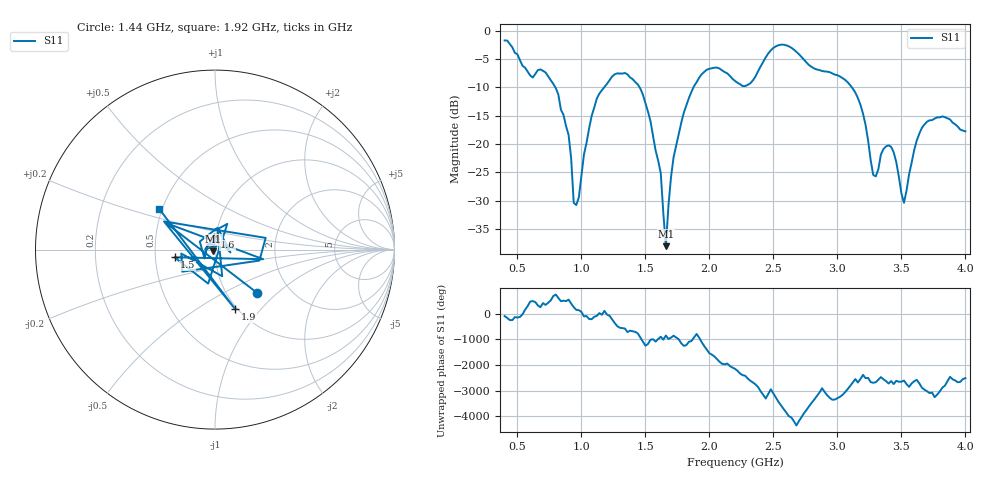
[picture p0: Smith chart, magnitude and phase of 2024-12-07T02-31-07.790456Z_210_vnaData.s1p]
!Created with skrf (http://scikit-rf.org).
# Hz S RI R 50.0
!freq ReS11 ImS11
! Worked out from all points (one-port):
!   181 points, 400 MHz to 4 GHz, reference 50 ohm
!   lowest |S11| = -38.0 dB at 1.66 GHz (marker M1), VSWR 1.03, Z = 49.1 - j0.895 ohm
!   |S11| at or under -10 dB: 796.7 MHz to 1.177 GHz (380.7 MHz wide, 38.6 % of centre); 1.455 GHz to 1.875 GHz (420.5 MHz wide, 25.3 % of centre); 3.113 GHz to end of sweep
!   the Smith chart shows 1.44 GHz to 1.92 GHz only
!   S11 on the Smith chart (normalised r, x): 1.44 GHz: 1.38, -0.75; 1.5 GHz: 0.63, -0.06; 1.6 GHz: 0.98, +0.14; 1.9 GHz: 0.98, -0.74; 1.92 GHz: 0.48, +0.26
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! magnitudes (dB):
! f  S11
! 400 MHz  -1.7
! 620 MHz  -8.3
! 720 MHz  -7.4
! 860 MHz  -14.8
! 900 MHz  -18.4
! 940 MHz  -30.4
! 960 MHz  -30.8
! 1.12 GHz  -12.0
! 1.3 GHz  -7.6
! 1.44 GHz  -9.5
! 1.5 GHz  -12.8
! 1.6 GHz  -23.0
! 1.62 GHz  -25.1
! 1.66 GHz  -38.0
! 1.7 GHz  -25.8
! 1.76 GHz  -18.3
! 1.9 GHz  -9.1
! 1.92 GHz  -8.3
! 2.2 GHz  -8.9
! 2.66 GHz  -3.3
! 3.1 GHz  -9.6
! 3.2 GHz  -14.6
! 3.28 GHz  -25.4
! 3.4 GHz  -20.2
! 3.52 GHz  -30.4
! 3.56 GHz  -25.3
! 3.7 GHz  -16.1
! 4 GHz  -17.8
